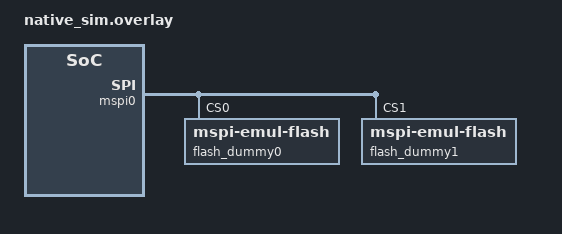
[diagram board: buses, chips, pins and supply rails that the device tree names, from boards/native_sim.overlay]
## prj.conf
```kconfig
# Copyright (c) 2024 Ambiq Micro Inc. <www.ambiq.com>
# SPDX-License-Identifier: Apache-2.0

CONFIG_ZTEST=y
CONFIG_FLASH=y
CONFIG_FLASH_INIT_PRIORITY=70
CONFIG_NO_OPTIMIZATIONS=y
```

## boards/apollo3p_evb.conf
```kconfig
# Copyright (c) 2024 Ambiq Micro Inc. <www.ambiq.com>
# SPDX-License-Identifier: Apache-2.0

CONFIG_FLASH_MSPI_ATXP032=y
CONFIG_LOG=y
CONFIG_LOG_DEFAULT_LEVEL=0
CONFIG_MSPI_INIT_PRIORITY=40
CONFIG_FLASH_INIT_PRIORITY=50
CONFIG_PM_DEVICE=y
CONFIG_PM_DEVICE_RUNTIME=n
```

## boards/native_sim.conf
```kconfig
# Copyright (c) 2024 Ambiq Micro Inc. <www.ambiq.com>
# SPDX-License-Identifier: Apache-2.0

CONFIG_EMUL=y
CONFIG_FLASH_MSPI_EMUL_DEVICE=y
CONFIG_GPIO=y
```

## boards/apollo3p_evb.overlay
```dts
/*
 * Copyright (c) 2024 Ambiq Micro Inc. <www.ambiq.com>
 * SPDX-License-Identifier: Apache-2.0
 */

/ {
	aliases {
		mspi0 = &mspi1;
	};
};

&gpio64_95 {
	status = "okay";
};

&gpio32_63 {
	status = "okay";
};

&mspi1 {

	compatible = "ambiq,mspi-controller";
	pinctrl-0 = <&mspi1_default>;
	pinctrl-1 = <&mspi1_sleep>;
	pinctrl-2 = <&mspi1_flash>;
	pinctrl-names = "default","sleep","flash";
	status = "okay";

	ce-gpios = <&gpio32_63 18 GPIO_ACTIVE_LOW>;

	cmdq-buffer-location = ".mspi_buff";
	cmdq-buffer-size = <256>;

	atxp032: atxp032@0 {
		compatible = "mspi-atxp032";
		size = <DT_SIZE_M(32)>;
		reg = <0>;
		status = "okay";
		mspi-max-frequency = <48000000>;
		mspi-io-mode = "MSPI_IO_MODE_OCTAL";
		mspi-data-rate = "MSPI_SINGLE_DATA_RATE";
		mspi-hardware-ce-num = <0>;
		read-instruction = <0x0B>;
		write-instruction = <0x02>;
		instruction-length = "INSTR_1_BYTE";
		address-length = "ADDR_4_BYTE";
		rx-dummy = <8>;
		tx-dummy = <0>;
		xip-config = <1 0 0 0>;
		ce-break-config = <0 0>;
		ambiq,timing-config-mask = <3>;
		ambiq,timing-config = <0 8 0 0 0 0 0 0>;
	};

};

&pinctrl {

	mspi1_sleep: mspi1_sleep{
		group1 {
			pinmux = <GPIO_P51>,
				 <GPIO_P52>,
				 <GPIO_P53>,
				 <GPIO_P54>,
				 <GPIO_P55>,
				 <GPIO_P56>,
				 <GPIO_P57>,
				 <GPIO_P58>,
				 <GPIO_P59>,
				 <GPIO_P69>,
				 <GPIO_P50>;
		};
	};

	mspi1_flash: mspi1_flash{

		group1 {
			pinmux = <MSPI1_0_P51>,
				 <MSPI1_1_P52>,
				 <MSPI1_2_P53>,
				 <MSPI1_3_P54>,
				 <MSPI1_4_P55>,
				 <MSPI1_5_P56>,
				 <MSPI1_6_P57>,
				 <MSPI1_7_P58>;
			drive-strength = "0.75";
			ambiq,iom-num = <1>;
		};

		group2 {
			pinmux = <MSPI1_8_P59>;
			drive-strength = "0.75";
			ambiq,iom-nce-module = <0>;
			ambiq,iom-num = <2>;
		};

		group3 {
			pinmux = <NCE50_P50>;
			drive-strength = "1.0";
			ambiq,iom-nce-module = <0>;
			ambiq,iom-num = <1>;
		};

		group4 {
			pinmux = <GPIO_P69>;
		};

	};

};
```

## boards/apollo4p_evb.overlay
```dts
/*
 * Copyright (c) 2024 Ambiq Inc.
 *
 * SPDX-License-Identifier: Apache-2.0
 */

/ {
	aliases {
		mspi0 = &mspi0;
	};
};

&gpio64_95 {
	status = "okay";
};

&gpio32_63 {
	status = "okay";
};

&mspi0 {

	pinctrl-0 = <&mspi0_default>;
	pinctrl-1 = <&mspi0_sleep>;
	pinctrl-2 = <&mspi0_flash>;
	pinctrl-names = "default","sleep","flash";
	status = "okay";

	ce-gpios = <&gpio32_63 57 GPIO_ACTIVE_LOW>;

	cmdq-buffer-location = ".mspi_buff";
	cmdq-buffer-size = <256>;

	ambiq,rx-config = <2 0 0 0 1 0 0 0 0 0>;

	aps256: aps256@0 {
		compatible = "ambiq,mspi-device", "mspi-aps256";
		size = <DT_SIZE_M(32)>;
		reg = <0>;
		status = "okay";
		mspi-max-frequency = <48000000>;
		mspi-io-mode = "MSPI_IO_MODE_HEX";
		mspi-data-rate = "MSPI_DATA_RATE_DUAL";
		mspi-hardware-ce-num = <0>;
		read-command = <0x2020>;
		write-command = <0xA0A0>;
		command-length = "INSTR_2_BYTE";
		address-length = "ADDR_4_BYTE";
		rx-dummy = <6>;
		tx-dummy = <6>;
		xip-config = <0 0 0 0>;
		ce-break-config = <1024 2>;
		ambiq,timing-config-mask = <67>;
		ambiq,timing-config = <6 6 0 0 0 0 16 0>;
		mspi-dqs-enable;
		scramble-config = <0 0 0>;
	};
};

&pinctrl {
	mspi0_sleep: mspi0_sleep{
		group1 {
			pinmux = <GPIO_P64>,
			         <GPIO_P65>,
			         <GPIO_P66>,
			         <GPIO_P67>,
			         <GPIO_P68>,
			         <GPIO_P69>,
			         <GPIO_P70>,
			         <GPIO_P71>,
			         <GPIO_P72>,
			         <GPIO_P73>,
			         <GPIO_P37>,
			         <GPIO_P38>,
			         <GPIO_P39>,
			         <GPIO_P40>,
			         <GPIO_P41>,
			         <GPIO_P42>,
			         <GPIO_P42>,
			         <GPIO_P43>,
			         <GPIO_P44>,
			         <GPIO_P45>;
		};
	};
	mspi0_flash: mspi0_flash{
		group1 {
			pinmux = <MSPI0_0_P64>,
					 <MSPI0_1_P65>,
					 <MSPI0_2_P66>,
					 <MSPI0_3_P67>,
					 <MSPI0_4_P68>,
					 <MSPI0_5_P69>,
					 <MSPI0_6_P70>,
					 <MSPI0_7_P71>,
					 <MSPI0_8_P72>,
					 <MSPI0_9_P73>,
					 <MSPI1_0_P37>,
					 <MSPI1_1_P38>,
					 <MSPI1_2_P39>,
					 <MSPI1_3_P40>,
					 <MSPI1_4_P41>,
					 <MSPI1_5_P42>,
					 <MSPI1_6_P43>,
					 <MSPI1_7_P44>;
			 drive-strength = "1.0";
		};
		group2 {
			pinmux = <NCE57_P57>;
			drive-strength = "0.5";
			ambiq,iom-num = <1>;
 			ambiq,iom-nce-module = <32>;
		};
		group3 {
			pinmux = <MSPI1_8_P45>;
			drive-strength = "1.0";
            ambiq,interrupt-direction = <0x2>;
		};
	};
};
```

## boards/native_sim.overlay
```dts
/*
 * Copyright (c) 2024 Ambiq Micro Inc. <www.ambiq.com>
 *
 * SPDX-License-Identifier: Apache-2.0
 */

 / {
	aliases {
		mspi0 = &mspi0;
	};
};

&mspi0 {

	ce-gpios = <&gpio0 5 GPIO_ACTIVE_LOW>,
		   <&gpio0 18 GPIO_ACTIVE_LOW>;
	dqs-support;

	flash_dummy0: flash_dummy0@0 {
		status = "okay";
		compatible = "zephyr,mspi-emul-flash";
		reg = <0x0>;
		size = <DT_SIZE_K(8*8)>;
		mspi-max-frequency = <48000000>;
		mspi-io-mode = "MSPI_IO_MODE_QUAD";
		mspi-data-rate = "MSPI_SINGLE_DATA_RATE";
		mspi-hardware-ce-num = <0>;
		read-instruction = <0x0B>;
		write-instruction = <0x02>;
		instruction-length = "INSTR_1_BYTE";
		address-length = "ADDR_4_BYTE";
		rx-dummy = <8>;
		tx-dummy = <0>;
	};

	flash_dummy1: flash_dummy1@1 {
		status = "okay";
		compatible = "zephyr,mspi-emul-flash";
		reg = <0x1>;
		size = <DT_SIZE_K(8*8)>;
		mspi-max-frequency = <96000000>;
		mspi-io-mode = "MSPI_IO_MODE_OCTAL";
		mspi-data-rate = "MSPI_DUAL_DATA_RATE";
		mspi-hardware-ce-num = <1>;
		mspi-dqs-enable;
		read-instruction = <0x20>;
		write-instruction = <0xAA>;
		instruction-length = "INSTR_2_BYTE";
		address-length = "ADDR_3_BYTE";
		rx-dummy = <6>;
		tx-dummy = <5>;
		xip-config = <1 0 0 0>;
		ce-break-config = <1024 4>;
	};

};
```

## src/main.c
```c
/*
 * Copyright (c) 2024 Ambiq Micro Inc. <www.ambiq.com>
 * SPDX-License-Identifier: Apache-2.0
 */

#include <zephyr/device.h>
#include <zephyr/drivers/mspi.h>
#include <zephyr/drivers/mspi_emul.h>
#include <zephyr/drivers/flash.h>
#include <zephyr/ztest.h>

#define MSPI_BUS_NODE                 DT_ALIAS(mspi0)

#define MSPI_FLASH_TEST_REGION_OFFSET 0x0

#define MSPI_FLASH_SECTOR_SIZE        4096

#define MSPI_FLASH_TEST_SIZE          3000

static const struct device *mspi_devices[] = {
	DT_FOREACH_CHILD_STATUS_OKAY_SEP(MSPI_BUS_NODE, DEVICE_DT_GET, (,))
};

static uint8_t expected[MSPI_FLASH_TEST_SIZE];
static uint8_t actual[MSPI_FLASH_TEST_SIZE];

static int prepare_test_pattern(uint32_t pattern_index, uint8_t *actualf, uint32_t len)
{
	uint32_t *pui32TxPtr = (uint32_t *)actualf;
	uint8_t *pui8TxPtr = (uint8_t *)actualf;

	switch (pattern_index) {
	case 0:
		/* 0x5555AAAA */
		for (uint32_t i = 0; i < len / 4; i++) {
			pui32TxPtr[i] = (0x5555AAAA);
		}
		break;
	case 1:
		/*  0xFFFF0000 */
		for (uint32_t i = 0; i < len / 4; i++) {
			pui32TxPtr[i] = (0xFFFF0000);
		}
		break;
	case 2:
		/* walking */
		for (uint32_t i = 0; i < len; i++) {
			pui8TxPtr[i] = 0x01 << (i % 8);
		}
		break;
	case 3:
		/* incremental from 1 */
		for (uint32_t i = 0; i < len; i++) {
			pui8TxPtr[i] = ((i + 1) & 0xFF);
		}
		break;
	case 4:
		/* decremental from 0xff */
		for (uint32_t i = 0; i < len; i++) {
			/* decrement starting from 0xff */
			pui8TxPtr[i] = (0xff - i) & 0xFF;
		}
		break;
	default:
		/* incremental from 1 */
		for (uint32_t i = 0; i < len; i++) {
			pui8TxPtr[i] = ((i + 1) & 0xFF);
		}
		break;
	}

	return 0;
}

static int multi_sector_rw(const struct device *flash_dev)
{
	int rc;
	const struct flash_pages_layout *layout = NULL;
	size_t layout_size = 0;
	size_t min_page_size = -1;

	TC_PRINT("\n===================================================================\n");
	TC_PRINT("Perform test on multiple consequtive sectors on %s\n", flash_dev->name);

	TC_PRINT("\nTest 0: Get Flash page layout\n");

	const struct flash_driver_api *api = flash_dev->api;

	api->page_layout(flash_dev, &layout, &layout_size);

	if (layout && layout_size) {
		TC_PRINT("    pages       size    \n");
		for (int i = 0; i < layout_size; ++i) {
			TC_PRINT("%2d: 0x%-8X  0x%-8x  \n", i, layout[i].pages_count,
				 layout[i].pages_size);
			min_page_size = MIN(min_page_size, layout[i].pages_size);
		}
	} else {
		TC_PRINT("Empty flash_pages_layout!\n");
		return 1;
	}

	TC_PRINT("\nPage size selected: %d\n", min_page_size);

	for (int i = 0; i < MSPI_FLASH_TEST_SIZE; i += min_page_size) {
		prepare_test_pattern(i % 5, expected + i, min_page_size);
	}

	TC_PRINT("\nTest 1: Flash erase\n");

	/* Full flash erase if MSPI_FLASH_TEST_REGION_OFFSET = 0 and
	 * MSPI_FLASH_SECTOR_SIZE = flash size
	 * Erase 2 sectors for check for erase of consequtive sectors
	 */
	rc = flash_erase(flash_dev, MSPI_FLASH_TEST_REGION_OFFSET, MSPI_FLASH_SECTOR_SIZE * 2);
	if (rc != 0) {
		TC_PRINT("Flash erase failed! %d\n", rc);
	} else {
		/* Read the content and check for erased */
		memset(actual, 0, MSPI_FLASH_TEST_SIZE);
		size_t offs = MSPI_FLASH_TEST_REGION_OFFSET;

		while (offs < MSPI_FLASH_TEST_REGION_OFFSET + 2 * MSPI_FLASH_SECTOR_SIZE) {
			rc = flash_read(flash_dev, offs, actual, MSPI_FLASH_TEST_SIZE);
			if (rc != 0) {
				TC_PRINT("Flash read failed! %d\n", rc);
				return 1;
			}
			if (actual[0] != 0xff) {
				TC_PRINT("Flash erase failed at offset 0x%x got 0x%x\n", offs,
					 actual[0]);
				return 1;
			}
			offs += MSPI_FLASH_SECTOR_SIZE;
		}
		TC_PRINT("Flash erase succeeded!\n");
	}

	TC_PRINT("\nTest 2: Flash write\n");

	size_t offs = MSPI_FLASH_TEST_REGION_OFFSET;

	while (offs < MSPI_FLASH_TEST_REGION_OFFSET + 2 * MSPI_FLASH_SECTOR_SIZE) {
		TC_PRINT("\nAttempting to write %zu bytes at offset 0x%x\n", MSPI_FLASH_TEST_SIZE,
			 offs);
		rc = flash_write(flash_dev, offs, expected, MSPI_FLASH_TEST_SIZE);
		if (rc != 0) {
			TC_PRINT("Flash write failed! %d\n", rc);
			return 1;
		}

		memset(actual, 0, MSPI_FLASH_TEST_SIZE);
		rc = flash_read(flash_dev, offs, actual, MSPI_FLASH_TEST_SIZE);
		if (rc != 0) {
			TC_PRINT("Flash read failed! %d\n", rc);
			return 1;
		}

		if (memcmp(expected, actual, MSPI_FLASH_TEST_SIZE) == 0) {
			TC_PRINT("Data read matches data written. Good!!\n");
		} else {
			const uint8_t *wp = expected;
			const uint8_t *rp = actual;
			const uint8_t *rpe = rp + MSPI_FLASH_TEST_SIZE;
			int count = 0;

			TC_PRINT("Data read does not match data written!!\n");
			while (rp < rpe) {
				if (*rp != *wp) {
					TC_PRINT("%08x wrote %02x read %02x MISMATCH\n",
						 (uint32_t)(offs + (rp - actual)), *wp, *rp);
					count++;
				}
				if (count > 100) {
					TC_PRINT("Too many data mismatch!!\n");
					break;
				}
				++rp;
				++wp;
			}
			return 1;
		}
		offs += MSPI_FLASH_SECTOR_SIZE;
	}
	return rc;
}

ZTEST(mspi_flash, test_mspi_flash)
{

	for (int idx = 0; idx < ARRAY_SIZE(mspi_devices); ++idx) {

		zassert_true(device_is_ready(mspi_devices[idx]),
					     "flash%d is not ready", idx);
		zassert_ok(multi_sector_rw(mspi_devices[idx]));

	}

	TC_PRINT("\n Done\n");
}

ZTEST_SUITE(mspi_flash, NULL, NULL, NULL, NULL, NULL);
```
